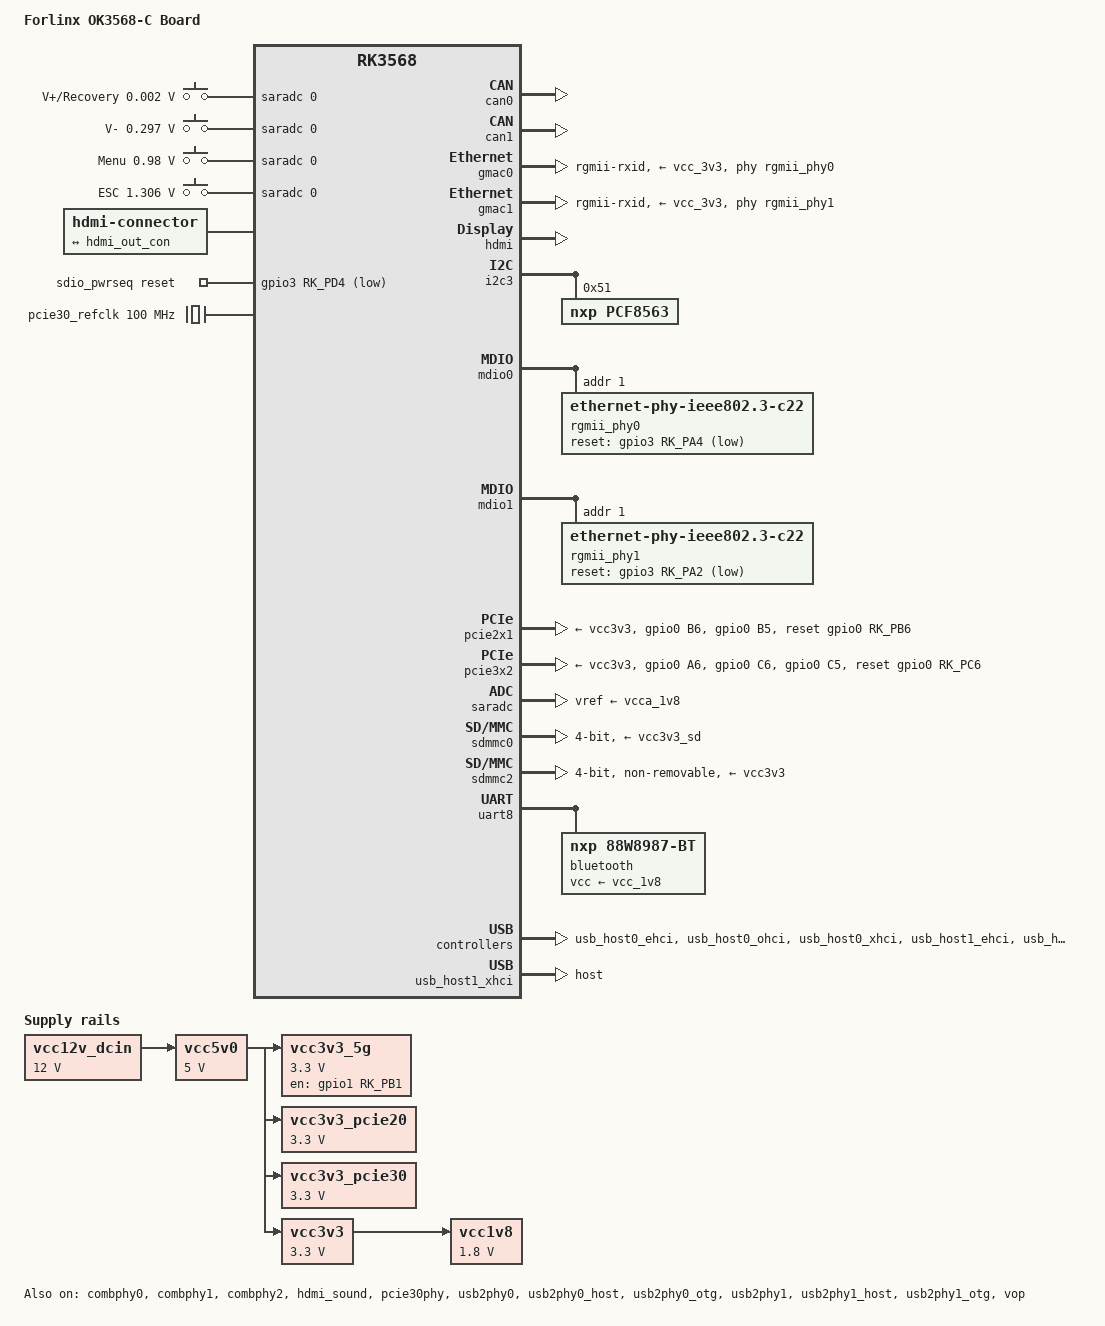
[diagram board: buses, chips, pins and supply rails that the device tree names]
// SPDX-License-Identifier: (GPL-2.0+ OR MIT)

/dts-v1/;
#include <dt-bindings/input/input.h>
#include <dt-bindings/leds/common.h>
#include <dt-bindings/soc/rockchip,vop2.h>
#include "rk3568-fet3568-c.dtsi"

/ {
	model = "Forlinx OK3568-C Board";
	compatible = "forlinx,ok3568-c", "rockchip,rk3568";

	aliases {
		ethernet0 = &gmac0;
		ethernet1 = &gmac1;
		mmc1 = &sdmmc0;
	};

	chosen: chosen {
		stdout-path = "serial2:1500000n8";
	};

	adc-keys-0 {
		compatible = "adc-keys";
		io-channels = <&saradc 0>;
		io-channel-names = "buttons";
		keyup-threshold-microvolt = <1800000>;
		poll-interval = <100>;

		button-volume-up {
			label = "V+/Recovery";
			linux,code = <KEY_VOLUMEUP>;
			press-threshold-microvolt = <1750>;
		};

		button-volume-down {
			label = "V-";
			linux,code = <KEY_VOLUMEDOWN>;
			press-threshold-microvolt = <297500>;
		};

		button-menu {
			label = "Menu";
			linux,code = <KEY_MENU>;
			press-threshold-microvolt = <980000>;
		};

		button-escape {
			label = "ESC";
			linux,code = <KEY_ESC>;
			press-threshold-microvolt = <1305500>;
		};
	};

	hdmi-con {
		compatible = "hdmi-connector";
		type = "a";

		port {
			hdmi_con_in: endpoint {
				remote-endpoint = <&hdmi_out_con>;
			};
		};
	};

	sdio_pwrseq: sdio-pwrseq {
		compatible = "mmc-pwrseq-simple";
		clocks = <&rk809 1>;
		clock-names = "ext_clock";
		pinctrl-names = "default";
		pinctrl-0 = <&wifi_reg_on>;
		post-power-on-delay-ms = <200>;
		power-off-delay-us = <5000000>;
		reset-gpios = <&gpio3 RK_PD4 GPIO_ACTIVE_LOW>;
	};

	/* DSC557-0344FI1 clock generator */
	pcie30_refclk: pcie-clock-generator {
		compatible = "gated-fixed-clock";
		#clock-cells = <0>;
		clock-frequency = <100000000>;
		clock-output-names = "pcie30_refclk";
		enable-gpios = <&gpio0 RK_PA5 GPIO_ACTIVE_HIGH>;
		pinctrl-names = "default";
		pinctrl-0 = <&pi6c_oe>;
		vdd-supply = <&vcc3v3>;
	};

	vcc12v_dcin: regulator-vcc12v-dcin {
		compatible = "regulator-fixed";
		regulator-name = "vcc12v_dcin";
		regulator-always-on;
		regulator-boot-on;
		regulator-min-microvolt = <12000000>;
		regulator-max-microvolt = <12000000>;
	};

	vcc1v8: regulator-1v8-vcc {
		compatible = "regulator-fixed";
		regulator-name = "vcc1v8";
		regulator-always-on;
		regulator-boot-on;
		regulator-min-microvolt = <1800000>;
		regulator-max-microvolt = <1800000>;
		vin-supply = <&vcc3v3>;
	};

	vcc3v3_5g: regulator-vcc3v3-5g {
		compatible = "regulator-fixed";
		regulator-name = "vcc3v3_5g";
		gpio = <&gpio1 RK_PB1 GPIO_ACTIVE_HIGH>;
		enable-active-high;
		regulator-min-microvolt = <3300000>;
		regulator-max-microvolt = <3300000>;
		vin-supply = <&vcc5v0>;
	};

	vcc3v3_pcie20: regulator-vcc3v3-pcie20 {
		compatible = "regulator-fixed";
		regulator-name = "vcc3v3_pcie20";
		regulator-always-on;
		regulator-boot-on;
		regulator-min-microvolt = <3300000>;
		regulator-max-microvolt = <3300000>;
		vin-supply = <&vcc5v0>;
	};

	vcc3v3_pcie30: regulator-vcc3v3-pcie30 {
		compatible = "regulator-fixed";
		regulator-name = "vcc3v3_pcie30";
		regulator-always-on;
		regulator-boot-on;
		regulator-min-microvolt = <3300000>;
		regulator-max-microvolt = <3300000>;
		vin-supply = <&vcc5v0>;
	};

	vcc3v3: regulator-3v3-vcc {
		compatible = "regulator-fixed";
		regulator-name = "vcc3v3";
		regulator-always-on;
		regulator-boot-on;
		regulator-min-microvolt = <3300000>;
		regulator-max-microvolt = <3300000>;
		vin-supply = <&vcc5v0>;
	};

	vcc5v0: regulator-5v0-vcc {
		compatible = "regulator-fixed";
		regulator-name = "vcc5v0";
		regulator-always-on;
		regulator-boot-on;
		regulator-min-microvolt = <5000000>;
		regulator-max-microvolt = <5000000>;
		vin-supply = <&vcc12v_dcin>;
	};
};

&can0 {
	assigned-clocks = <&cru CLK_CAN0>;
	assigned-clock-rates = <200000000>;
	pinctrl-names = "default";
	pinctrl-0 = <&can0m0_pins>;
	status = "okay";
};

&can1 {
	assigned-clocks = <&cru CLK_CAN1>;
	assigned-clock-rates = <200000000>;
	pinctrl-names = "default";
	pinctrl-0 = <&can1m1_pins>;
	status = "okay";
};

&combphy0 {
	status = "okay";
};

&combphy1 {
	status = "okay";
};

&combphy2 {
	status = "okay";
};

&gmac0 {
	assigned-clocks = <&cru SCLK_GMAC0_RX_TX>, <&cru SCLK_GMAC0>, <&cru CLK_MAC0_OUT>;
	assigned-clock-parents = <&cru SCLK_GMAC0_RGMII_SPEED>;
	assigned-clock-rates = <0>, <125000000>, <25000000>;
	clock_in_out = "output";
	phy-handle = <&rgmii_phy0>;
	phy-mode = "rgmii-rxid";
	phy-supply = <&vcc_3v3>;
	pinctrl-names = "default";
	pinctrl-0 = <&gmac0_miim
		     &gmac0_tx_bus2
		     &gmac0_rx_bus2
		     &gmac0_rgmii_clk
		     &gmac0_rgmii_bus
		     &gmac0_clkinout
		     &eth0_pins>;
	tx_delay = <0x36>;
	status = "okay";
};

&gmac1 {
	assigned-clocks = <&cru SCLK_GMAC1_RX_TX>, <&cru SCLK_GMAC1>, <&cru CLK_MAC1_OUT>;
	assigned-clock-parents = <&cru SCLK_GMAC1_RGMII_SPEED>;
	assigned-clock-rates = <0>, <125000000>, <25000000>;
	clock_in_out = "output";
	phy-handle = <&rgmii_phy1>;
	phy-mode = "rgmii-rxid";
	phy-supply = <&vcc_3v3>;
	pinctrl-names = "default";
	pinctrl-0 = <&gmac1m1_miim
		     &gmac1m1_tx_bus2
		     &gmac1m1_rx_bus2
		     &gmac1m1_rgmii_clk
		     &gmac1m1_rgmii_bus
		     &gmac1m1_clkinout
		     &eth1m1_pins>;
	tx_delay = <0x47>;
	status = "okay";
};

&hdmi {
	avdd-0v9-supply = <&vdda0v9_image>;
	avdd-1v8-supply = <&vcca1v8_image>;
	status = "okay";
};

&hdmi_in {
	hdmi_in_vp0: endpoint {
		remote-endpoint = <&vp0_out_hdmi>;
	};
};

&hdmi_out {
	hdmi_out_con: endpoint {
		remote-endpoint = <&hdmi_con_in>;
	};
};

&hdmi_sound {
	status = "okay";
};

&i2c3 {
	status = "okay";

	pcf8563: rtc@51 {
		compatible = "nxp,pcf8563";
		reg = <0x51>;
	};
};

&mdio0 {
	rgmii_phy0: ethernet-phy@1 {
		compatible = "ethernet-phy-ieee802.3-c22";
		reg = <1>;
		reset-assert-us = <20000>;
		reset-deassert-us = <50000>;
		reset-gpios = <&gpio3 RK_PA4 GPIO_ACTIVE_LOW>;
	};
};

&mdio1 {
	rgmii_phy1: ethernet-phy@1 {
		compatible = "ethernet-phy-ieee802.3-c22";
		reg = <1>;
		reset-assert-us = <20000>;
		reset-deassert-us = <50000>;
		reset-gpios = <&gpio3 RK_PA2 GPIO_ACTIVE_LOW>;
	};
};

&pcie2x1 {
	pinctrl-names = "default";
	pinctrl-0 = <&pcie20m0_pins>;
	reset-gpios = <&gpio0 RK_PB6 GPIO_ACTIVE_HIGH>;
	vpcie3v3-supply = <&vcc3v3>;
	status = "okay";
};

&pcie30phy {
	status = "okay";
};

&pcie3x2 {
	clocks = <&cru ACLK_PCIE30X2_MST>, <&cru ACLK_PCIE30X2_SLV>,
		 <&cru ACLK_PCIE30X2_DBI>, <&cru PCLK_PCIE30X2>,
		 <&cru CLK_PCIE30X2_AUX_NDFT>,
		 <&cru CLK_PCIE30X2_PIPE_DFT>,
		 <&pcie30_refclk>;
	clock-names = "aclk_mst", "aclk_slv",
		      "aclk_dbi", "pclk", "aux",
		      "pipe", "ref";
	pinctrl-names = "default";
	pinctrl-0 = <&pcie30x2m0_pins>;
	reset-gpios = <&gpio0 RK_PC6 GPIO_ACTIVE_HIGH>;
	vpcie3v3-supply = <&vcc3v3>;
	status = "okay";
};

&pinctrl {
	bluetooth {
		bt_reg_on: bt-reg-on {
			rockchip,pins = <3 RK_PD5 RK_FUNC_GPIO &pcfg_pull_none>;
		};

		bt_host_wake: bt-host-wake {
			rockchip,pins = <0 RK_PD3 RK_FUNC_GPIO &pcfg_pull_none>;
		};

		bt_wake: bt-wake {
			rockchip,pins = <0 RK_PD5 RK_FUNC_GPIO &pcfg_pull_none>;
		};
	};

	/* Drop pcie20_clkreqnm0 pin. Used as DSC557-0344FI1 enable-gpio instead. */
	pcie20 {
		pcie20m0_pins: pcie20m0-pins {
			rockchip,pins =
				/* pcie20_perstnm0 */
				<0 RK_PB6 RK_FUNC_GPIO &pcfg_pull_none>,
				/* pcie20_wakenm0 */
				<0 RK_PB5 3 &pcfg_pull_none>;
		};
	};

	pcie30x2 {
		pcie30x2m0_pins: pcie30x2m0-pins {
			rockchip,pins =
				/* pcie30x2_clkreqnm0 */
				<0 RK_PA6 2 &pcfg_pull_none>,
				/* pcie30x2_perstnm0 */
				<0 RK_PC6 RK_FUNC_GPIO &pcfg_pull_none>,
				/* pcie30x2_wakenm0 */
				<0 RK_PC5 3 &pcfg_pull_none>;
		};

		pi6c_oe: pi6c-oe {
			rockchip,pins = <0 RK_PA5 RK_FUNC_GPIO &pcfg_pull_none>;
		};
	};

	wifi {
		wifi_reg_on: wifi-reg-on {
			rockchip,pins = <3 RK_PD4 RK_FUNC_GPIO &pcfg_pull_none>;
		};

		wifi_host_wake: wifi-host-wake {
			rockchip,pins = <0 RK_PD4 RK_FUNC_GPIO &pcfg_pull_none>;
		};
	};
};

&pmu_io_domains {
	status = "okay";
	pmuio1-supply = <&vcc3v3_pmu>;
	pmuio2-supply = <&vcc3v3_pmu>;
	vccio1-supply = <&vccio_acodec>;
	vccio3-supply = <&vccio_sd>;
	vccio4-supply = <&vcc_1v8>;
	vccio5-supply = <&vcc_3v3>;
	vccio6-supply = <&vcc_1v8>;
	vccio7-supply = <&vcc_3v3>;
};

&saradc {
	vref-supply = <&vcca_1v8>;
	status = "okay";
};

&sdmmc0 {
	bus-width = <4>;
	cap-sd-highspeed;
	disable-wp;
	pinctrl-names = "default";
	pinctrl-0 = <&sdmmc0_bus4 &sdmmc0_clk &sdmmc0_cmd &sdmmc0_det>;
	vmmc-supply = <&vcc3v3_sd>;
	vqmmc-supply = <&vccio_sd>;
	status = "okay";
};

&sdmmc2 {
	bus-width = <4>;
	cap-sd-highspeed;
	cap-sdio-irq;
	keep-power-in-suspend;
	mmc-pwrseq = <&sdio_pwrseq>;
	non-removable;
	pinctrl-names = "default";
	pinctrl-0 = <&sdmmc2m0_bus4 &sdmmc2m0_clk &sdmmc2m0_cmd>;
	sd-uhs-sdr104;
	vmmc-supply = <&vcc3v3>;
	vqmmc-supply = <&vcc_1v8>;
	status = "okay";
};

/* BT part of the AW-CM358SM connected with UART */
&uart8 {
	pinctrl-names = "default";
	pinctrl-0 = <&uart8m0_xfer &uart8m0_ctsn &uart8m0_rtsn>;
	uart-has-rtscts;
	status = "okay";

	bluetooth {
		compatible = "nxp,88w8987-bt";
		pinctrl-names = "default";
		pinctrl-0 = <&bt_reg_on &bt_host_wake &bt_wake>;
		vcc-supply = <&vcc_1v8>;
	};
};

&usb_host0_ehci {
	status = "okay";
};

&usb_host0_ohci {
	status = "okay";
};

&usb_host0_xhci {
	extcon = <&usb2phy0>;
	status = "okay";
};

&usb_host1_ehci {
	status = "okay";
};

&usb_host1_ohci {
	status = "okay";
};

&usb_host1_xhci {
	dr_mode = "host";
	status = "okay";
};

&usb2phy0 {
	status = "okay";
};

&usb2phy0_host {
	phy-supply = <&vcc5v0>;
	status = "okay";
};

&usb2phy0_otg {
	phy-supply = <&vcc5v0>;
	status = "okay";
};

&usb2phy1 {
	phy-supply = <&vcc3v3_5g>;
	status = "okay";
};

&usb2phy1_host {
	phy-supply = <&vcc5v0>;
	status = "okay";
};

&usb2phy1_otg {
	phy-supply = <&vcc5v0>;
	status = "okay";
};

&vop {
	assigned-clocks = <&cru DCLK_VOP0>, <&cru DCLK_VOP1>;
	assigned-clock-parents = <&pmucru PLL_HPLL>, <&cru PLL_VPLL>;
	status = "okay";
};

&vop_mmu {
	status = "okay";
};

&vp0 {
	vp0_out_hdmi: endpoint@ROCKCHIP_VOP2_EP_HDMI0 {
		reg = <ROCKCHIP_VOP2_EP_HDMI0>;
		remote-endpoint = <&hdmi_in_vp0>;
	};
};
